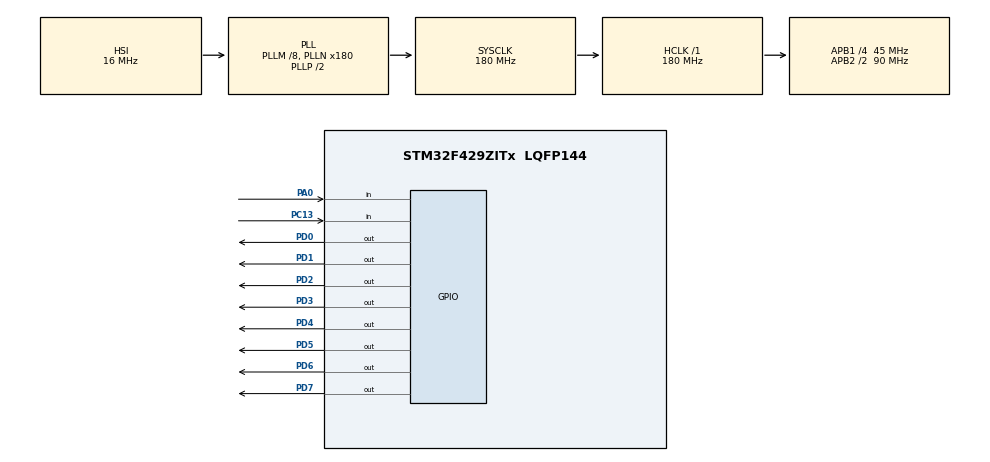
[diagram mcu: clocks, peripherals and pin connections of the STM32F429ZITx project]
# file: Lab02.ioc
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Mcu.Family=STM32F4
Mcu.Name=STM32F429ZITx
Mcu.Package=LQFP144
NVIC.PriorityGroup=NVIC_PRIORITYGROUP_4
PA0/WKUP.GPIO_PuPd=GPIO_NOPULL
PA0/WKUP.Signal=GPIO_Input
PC13.Signal=GPIO_Input
PD0.PinState=GPIO_PIN_SET
PD0.Signal=GPIO_Output
PD1.PinState=GPIO_PIN_SET
PD1.Signal=GPIO_Output
PD2.PinState=GPIO_PIN_SET
PD2.Signal=GPIO_Output
PD3.PinState=GPIO_PIN_SET
PD3.Signal=GPIO_Output
PD4.PinState=GPIO_PIN_SET
PD4.Signal=GPIO_Output
PD5.PinState=GPIO_PIN_SET
PD5.Signal=GPIO_Output
PD6.PinState=GPIO_PIN_SET
PD6.Signal=GPIO_Output
PD7.PinState=GPIO_PIN_SET
PD7.Signal=GPIO_Output
ProjectManager.HeapSize=0x200
ProjectManager.StackSize=0x400
ProjectManager.TargetToolchain=STM32CubeIDE
RCC.48MHZClocksFreq_Value=90000000
RCC.AHBFreq_Value=180000000
RCC.APB1CLKDivider=RCC_HCLK_DIV4
RCC.APB1Freq_Value=45000000
RCC.APB1TimFreq_Value=90000000
RCC.APB2CLKDivider=RCC_HCLK_DIV2
RCC.APB2Freq_Value=90000000
RCC.APB2TimFreq_Value=180000000
RCC.CortexFreq_Value=180000000
RCC.HCLKFreq_Value=180000000
RCC.HSE_VALUE=25000000
RCC.HSI_VALUE=16000000
RCC.LSE_VALUE=32768
RCC.PLLM=8
RCC.PLLN=180
RCC.SYSCLKFreq_VALUE=180000000
RCC.SYSCLKSource=RCC_SYSCLKSOURCE_PLLCLK
RCC.VCOOutputFreq_Value=360000000
board=custom

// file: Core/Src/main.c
/* USER CODE BEGIN Header */
/**
  ******************************************************************************
  * @file           : main.c
  * @brief          : Main program body
  ******************************************************************************
  * @attention
  *
  * <h2><center>&copy; Copyright (c) 2021 STMicroelectronics.
  * All rights reserved.</center></h2>
  *
  * This software component is licensed by ST under BSD 3-Clause license,
  * the "License"; You may not use this file except in compliance with the
  * License. You may obtain a copy of the License at:
  *                        opensource.org/licenses/BSD-3-Clause
  *
  ******************************************************************************
  */
/* USER CODE END Header */
#include "main.h"
#include "gpio.h"

/* USER CODE BEGIN Includes */
#include "stdbool.h"
/* USER CODE END Includes */

/* USER CODE BEGIN PV */
int isActive = 0;

int n = 0;
int auto_n = 7;
unsigned int newBSRR = 0;
unsigned int oldBSRR = 0;
bool autoMode = false;
/* USER CODE END PV */

void SystemClock_Config(void);

int main(void)
{

  /* MCU Configuration--------------------------------------------------------*/

  /* Reset of all peripherals, Initializes the Flash interface and the Systick. */
  HAL_Init();

  /* Configure the system clock */
  SystemClock_Config();

  /* Initialize all configured peripherals */
  MX_GPIO_Init();
  /* USER CODE BEGIN 2 */
  newBSRR = 0x10000 << n;
  GPIOD -> BSRR = newBSRR;
  n++;
  /* USER CODE END 2 */

  /* Infinite loop */
  while (1)
  {

    /* USER CODE BEGIN 3 */
//	  if (HAL_GPIO_ReadPin(GPIOC, GPIO_PIN_13)==0){
//		  HAL_GPIO_WritePin(GPIOD, GPIO_PIN_0,0);
//		  isActive = 1;
//		  HAL_Delay(1000);
//		  HAL_GPIO_WritePin(GPIOD, GPIO_PIN_0,1);
//		  isActive = 0;
//	  }
	  if(HAL_GPIO_ReadPin(GPIOC, GPIO_PIN_13)==0){
		  autoMode = true;
	  }
	  if (((HAL_GPIO_ReadPin(GPIOA, GPIO_PIN_0)==1)&&!autoMode)){
		  if(n>=8){
			  n = 0;
			  GPIOD -> BSRR = 0x80;
		  }
		  newBSRR = 0x10000 << n;
		  oldBSRR = newBSRR >> 17;
		  GPIOD -> BSRR = newBSRR;
		  GPIOD -> BSRR = oldBSRR;
		  n++;
		  HAL_Delay(500);
	  }
	  else if(autoMode){
		  if(auto_n == 7){
			  GPIOD -> BSRR = 0xFF;
		  }
		  newBSRR = 0x10000 << auto_n;
		  oldBSRR = newBSRR >> 15;
		  GPIOD -> BSRR = newBSRR;
		  GPIOD -> BSRR = oldBSRR;
		  auto_n--;
		  HAL_Delay(500);
		  if(auto_n<=-1){
			  auto_n = 7;
			  autoMode = false;
			  GPIOD -> BSRR = 0xFF;
			  newBSRR = 0x10000 << (n-1);
			  GPIOD -> BSRR = newBSRR;
		  }
	  }

  }
  /* USER CODE END 3 */
}

void SystemClock_Config(void)
{
  RCC_OscInitTypeDef RCC_OscInitStruct = {0};
  RCC_ClkInitTypeDef RCC_ClkInitStruct = {0};

  /** Configure the main internal regulator output voltage
  */
  __HAL_RCC_PWR_CLK_ENABLE();
  __HAL_PWR_VOLTAGESCALING_CONFIG(PWR_REGULATOR_VOLTAGE_SCALE1);
  /** Initializes the RCC Oscillators according to the specified parameters
  * in the RCC_OscInitTypeDef structure.
  */
  RCC_OscInitStruct.OscillatorType = RCC_OSCILLATORTYPE_HSI;
  RCC_OscInitStruct.HSIState = RCC_HSI_ON;
  RCC_OscInitStruct.HSICalibrationValue = RCC_HSICALIBRATION_DEFAULT;
  RCC_OscInitStruct.PLL.PLLState = RCC_PLL_ON;
  RCC_OscInitStruct.PLL.PLLSource = RCC_PLLSOURCE_HSI;
  RCC_OscInitStruct.PLL.PLLM = 8;
  RCC_OscInitStruct.PLL.PLLN = 180;
  RCC_OscInitStruct.PLL.PLLP = RCC_PLLP_DIV2;
  RCC_OscInitStruct.PLL.PLLQ = 4;
  if (HAL_RCC_OscConfig(&RCC_OscInitStruct) != HAL_OK)
  {
    Error_Handler();
  }
  /** Activate the Over-Drive mode
  */
  if (HAL_PWREx_EnableOverDrive() != HAL_OK)
  {
    Error_Handler();
  }
  /** Initializes the CPU, AHB and APB buses clocks
  */
  RCC_ClkInitStruct.ClockType = RCC_CLOCKTYPE_HCLK|RCC_CLOCKTYPE_SYSCLK
                              |RCC_CLOCKTYPE_PCLK1|RCC_CLOCKTYPE_PCLK2;
  RCC_ClkInitStruct.SYSCLKSource = RCC_SYSCLKSOURCE_PLLCLK;
  RCC_ClkInitStruct.AHBCLKDivider = RCC_SYSCLK_DIV1;
  RCC_ClkInitStruct.APB1CLKDivider = RCC_HCLK_DIV4;
  RCC_ClkInitStruct.APB2CLKDivider = RCC_HCLK_DIV2;

  if (HAL_RCC_ClockConfig(&RCC_ClkInitStruct, FLASH_LATENCY_5) != HAL_OK)
  {
    Error_Handler();
  }
}

void Error_Handler(void)
{
  __disable_irq();
  while (1)
  {
  }
}

/************************ (C) COPYRIGHT STMicroelectronics *****END OF FILE****/
